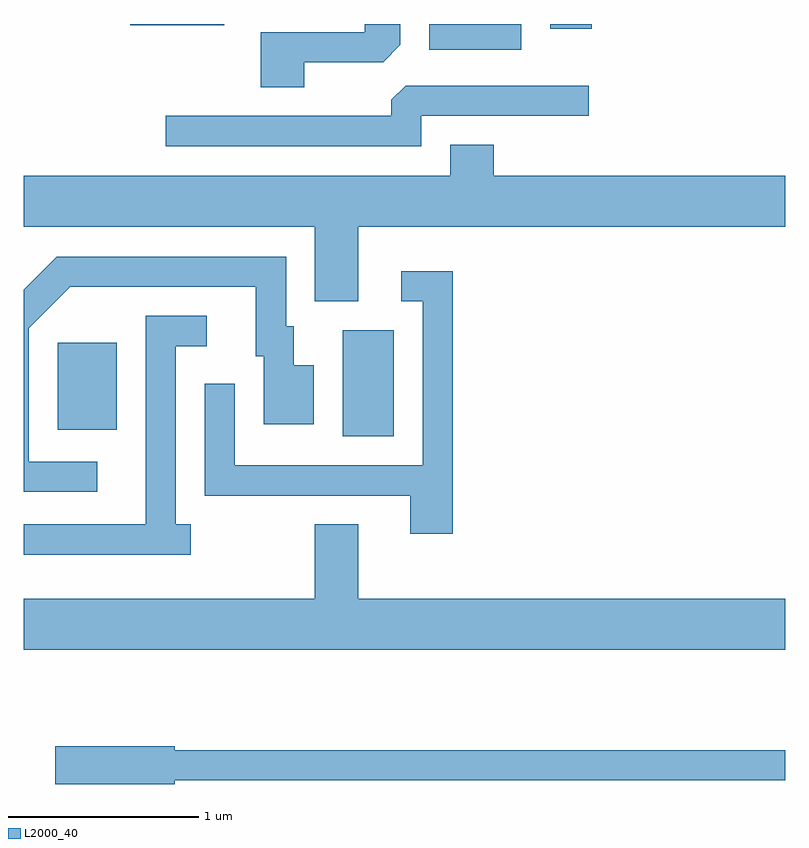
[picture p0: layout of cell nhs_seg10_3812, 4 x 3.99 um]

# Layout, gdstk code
import gdstk
lib = gdstk.Library(unit=1e-6, precision=1e-09)
def R(c, l, rs):  # rectangles x0, y0, x1, y1
    for r in rs: c.add(gdstk.rectangle(r[:2], r[2:], *l))
def P(c, l, *ps):  # polygons
    for p in ps: c.add(gdstk.Polygon(p, *l))
L2000_40 = (2000, 40)

nhs_seg10_3812 = lib.new_cell('nhs_seg10_3812')
R(nhs_seg10_3812, L2000_40, [(299.286,2128.356,299.554,2128.914), (297.791,2128.391,298.099,2128.849), (299.741,2130.386,300.224,2130.522), (300.376,2130.496,300.594,2130.522), (298.171,2130.516,298.664,2130.522)])
P(nhs_seg10_3812, L2000_40, [(299.084,2130.321),(299.499,2130.321),(299.589,2130.412),(299.589,2130.522),(299.401,2130.522),(299.401,2130.479),(298.856,2130.479),(298.856,2130.191),(299.084,2130.191)],
  [(299.699,2130.041),(300.578,2130.041),(300.578,2130.199),(299.617,2130.199),(299.541,2130.124),(299.541,2130.039),(298.358,2130.039),(298.358,2129.881),(299.699,2129.881)],
  [(299.369,2129.456),(301.611,2129.456),(301.611,2129.724),(300.079,2129.724),(300.079,2129.889),(299.851,2129.889),(299.851,2129.724),(297.611,2129.724),(297.611,2129.456),(299.141,2129.456),(299.141,2129.066),(299.369,2129.066)],
  [(297.998,2128.224),(297.639,2128.224),(297.639,2128.924),(297.857,2129.141),(298.831,2129.141),(298.831,2128.776),(298.871,2128.776),(298.871,2128.421),(299.134,2128.421),(299.134,2128.729),(299.029,2128.729),(299.029,2128.934),(298.989,2128.934),(298.989,2129.299),(297.784,2129.299),(297.611,2129.127),(297.611,2128.066),(297.998,2128.066)],
  [(299.864,2129.224),(299.593,2129.224),(299.593,2129.066),(299.706,2129.066),(299.706,2128.204),(298.719,2128.204),(298.719,2128.633),(298.561,2128.633),(298.561,2128.046),(299.641,2128.046),(299.641,2127.846),(299.864,2127.846)],
  [(298.488,2127.894),(298.409,2127.894),(298.409,2128.831),(298.573,2128.831),(298.573,2128.989),(298.251,2128.989),(298.251,2127.894),(297.611,2127.894),(297.611,2127.736),(298.488,2127.736)],
  [(301.611,2127.504),(299.369,2127.504),(299.369,2127.894),(299.141,2127.894),(299.141,2127.504),(297.611,2127.504),(297.611,2127.236),(301.611,2127.236)],
  [(298.404,2126.551),(301.611,2126.551),(301.611,2126.709),(298.404,2126.709),(298.404,2126.729),(297.776,2126.729),(297.776,2126.531),(298.404,2126.531)])

lib.write_gds('nhs_seg10_3812.gds')
